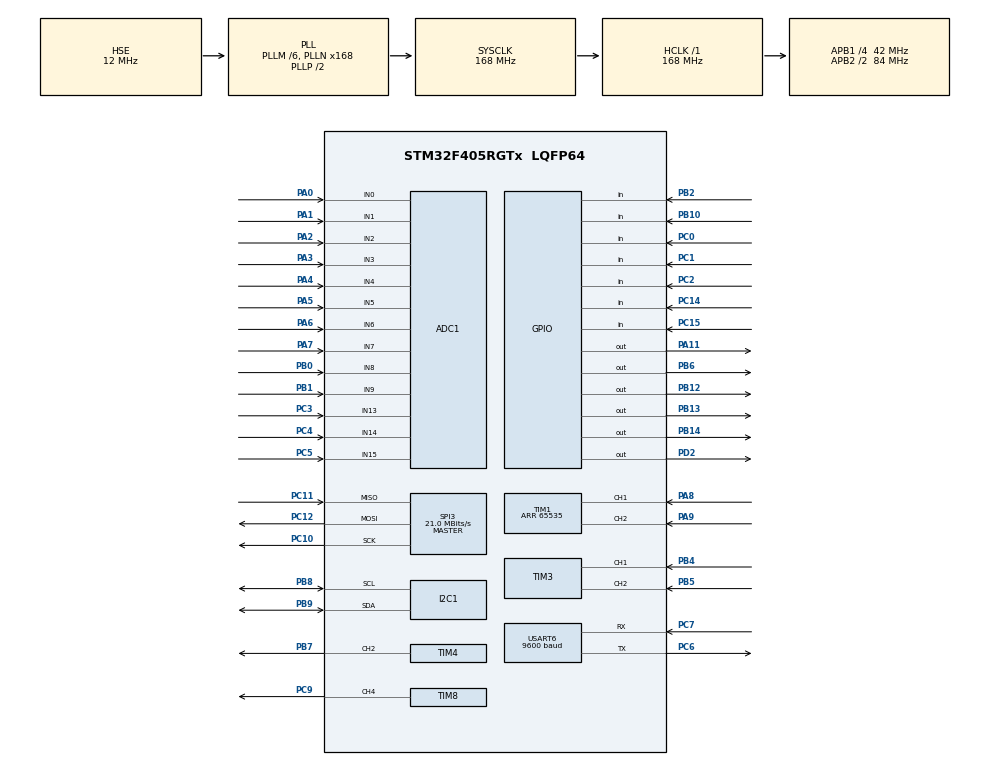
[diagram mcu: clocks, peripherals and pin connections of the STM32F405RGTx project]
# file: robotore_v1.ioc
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ADC1.Channel-0\#ChannelRegularConversion=ADC_CHANNEL_9
ADC1.Channel-1\#ChannelRegularConversion=ADC_CHANNEL_8
ADC1.Channel-10\#ChannelRegularConversion=ADC_CHANNEL_1
ADC1.Channel-11\#ChannelRegularConversion=ADC_CHANNEL_0
ADC1.Channel-12\#ChannelRegularConversion=ADC_CHANNEL_13
ADC1.Channel-2\#ChannelRegularConversion=ADC_CHANNEL_15
ADC1.Channel-3\#ChannelRegularConversion=ADC_CHANNEL_14
ADC1.Channel-4\#ChannelRegularConversion=ADC_CHANNEL_7
ADC1.Channel-5\#ChannelRegularConversion=ADC_CHANNEL_6
ADC1.Channel-6\#ChannelRegularConversion=ADC_CHANNEL_5
ADC1.Channel-7\#ChannelRegularConversion=ADC_CHANNEL_4
ADC1.Channel-8\#ChannelRegularConversion=ADC_CHANNEL_3
ADC1.Channel-9\#ChannelRegularConversion=ADC_CHANNEL_2
ADC1.ContinuousConvMode=ENABLE
ADC1.DMAContinuousRequests=ENABLE
ADC1.InjNumberOfConversion=0
ADC1.NbrOfConversion=13
ADC1.NbrOfConversionFlag=1
ADC1.Rank-0\#ChannelRegularConversion=1
ADC1.Rank-1\#ChannelRegularConversion=2
ADC1.Rank-10\#ChannelRegularConversion=11
ADC1.Rank-11\#ChannelRegularConversion=12
ADC1.Rank-12\#ChannelRegularConversion=13
ADC1.Rank-2\#ChannelRegularConversion=3
ADC1.Rank-3\#ChannelRegularConversion=4
ADC1.Rank-4\#ChannelRegularConversion=5
ADC1.Rank-5\#ChannelRegularConversion=6
ADC1.Rank-6\#ChannelRegularConversion=7
ADC1.Rank-7\#ChannelRegularConversion=8
ADC1.Rank-8\#ChannelRegularConversion=9
ADC1.Rank-9\#ChannelRegularConversion=10
ADC1.SamplingTime-0\#ChannelRegularConversion=ADC_SAMPLETIME_480CYCLES
ADC1.SamplingTime-1\#ChannelRegularConversion=ADC_SAMPLETIME_480CYCLES
ADC1.SamplingTime-10\#ChannelRegularConversion=ADC_SAMPLETIME_480CYCLES
ADC1.SamplingTime-11\#ChannelRegularConversion=ADC_SAMPLETIME_480CYCLES
ADC1.SamplingTime-12\#ChannelRegularConversion=ADC_SAMPLETIME_480CYCLES
ADC1.SamplingTime-2\#ChannelRegularConversion=ADC_SAMPLETIME_480CYCLES
ADC1.SamplingTime-3\#ChannelRegularConversion=ADC_SAMPLETIME_480CYCLES
ADC1.SamplingTime-4\#ChannelRegularConversion=ADC_SAMPLETIME_480CYCLES
ADC1.SamplingTime-5\#ChannelRegularConversion=ADC_SAMPLETIME_480CYCLES
ADC1.SamplingTime-6\#ChannelRegularConversion=ADC_SAMPLETIME_480CYCLES
ADC1.SamplingTime-7\#ChannelRegularConversion=ADC_SAMPLETIME_480CYCLES
ADC1.SamplingTime-8\#ChannelRegularConversion=ADC_SAMPLETIME_480CYCLES
ADC1.SamplingTime-9\#ChannelRegularConversion=ADC_SAMPLETIME_480CYCLES
ADC1.ScanConvMode=ENABLE
ADC1.master=1
Dma.ADC1.0.Direction=DMA_PERIPH_TO_MEMORY
Dma.ADC1.0.FIFOMode=DMA_FIFOMODE_DISABLE
Dma.ADC1.0.Instance=DMA2_Stream0
Dma.ADC1.0.MemDataAlignment=DMA_MDATAALIGN_HALFWORD
Dma.ADC1.0.MemInc=DMA_MINC_ENABLE
Dma.ADC1.0.Mode=DMA_CIRCULAR
Dma.ADC1.0.PeriphDataAlignment=DMA_PDATAALIGN_HALFWORD
Dma.ADC1.0.PeriphInc=DMA_PINC_DISABLE
Dma.ADC1.0.Priority=DMA_PRIORITY_LOW
Dma.Request0=ADC1
Mcu.Family=STM32F4
Mcu.Name=STM32F405RGTx
Mcu.Package=LQFP64
NVIC.DMA2_Stream0_IRQn=true\:0\:0\:false\:false\:true\:false\:true
NVIC.PriorityGroup=NVIC_PRIORITYGROUP_4
NVIC.TIM1_UP_TIM10_IRQn=true\:0\:0\:false\:false\:true\:true\:true
NVIC.TIM6_DAC_IRQn=true\:0\:0\:false\:false\:true\:true\:true
NVIC.TIM7_IRQn=true\:0\:0\:false\:false\:true\:true\:true
NVIC.USART6_IRQn=true\:0\:0\:false\:false\:true\:true\:true
PA0-WKUP.Signal=ADCx_IN0
PA1.Signal=ADCx_IN1
PA11.Signal=GPIO_Output
PA13.Mode=Trace_Asynchronous_SW
PA13.Signal=SYS_JTMS-SWDIO
PA14.Mode=Trace_Asynchronous_SW
PA14.Signal=SYS_JTCK-SWCLK
PA2.Signal=ADCx_IN2
PA3.Signal=ADCx_IN3
PA4.Signal=ADCx_IN4
PA5.Signal=ADCx_IN5
PA6.Signal=ADCx_IN6
PA7.Signal=ADCx_IN7
PA8.Signal=S_TIM1_CH1
PA9.Signal=S_TIM1_CH2
PB0.Signal=ADCx_IN8
PB1.Signal=ADCx_IN9
PB10.Signal=GPIO_Input
PB12.Signal=GPIO_Output
PB13.Signal=GPIO_Output
PB14.Signal=GPIO_Output
PB2.Signal=GPIO_Input
PB3.Mode=Trace_Asynchronous_SW
PB3.Signal=SYS_JTDO-SWO
PB4.Signal=S_TIM3_CH1
PB5.Signal=S_TIM3_CH2
PB6.Signal=GPIO_Output
PB7.Signal=S_TIM4_CH2
PB8.Mode=I2C
PB8.Signal=I2C1_SCL
PB9.Mode=I2C
PB9.Signal=I2C1_SDA
PC0.GPIO_PuPd=GPIO_PULLUP
PC0.Signal=GPIO_Input
PC1.GPIO_PuPd=GPIO_PULLUP
PC1.Signal=GPIO_Input
PC10.Mode=Full_Duplex_Master
PC10.Signal=SPI3_SCK
PC11.Mode=Full_Duplex_Master
PC11.Signal=SPI3_MISO
PC12.Mode=Full_Duplex_Master
PC12.Signal=SPI3_MOSI
PC14-OSC32_IN.GPIO_PuPd=GPIO_NOPULL
PC14-OSC32_IN.Signal=GPIO_Input
PC15-OSC32_OUT.GPIO_PuPd=GPIO_PULLUP
PC15-OSC32_OUT.Signal=GPIO_Input
PC2.GPIO_PuPd=GPIO_PULLUP
PC2.Signal=GPIO_Input
PC3.Signal=ADCx_IN13
PC4.Signal=ADCx_IN14
PC5.Signal=ADCx_IN15
PC6.Mode=Asynchronous
PC6.Signal=USART6_TX
PC7.Mode=Asynchronous
PC7.Signal=USART6_RX
PC9.Signal=S_TIM8_CH4
PD2.Signal=GPIO_Output
PH0-OSC_IN.Mode=HSE-External-Clock-Source
PH0-OSC_IN.Signal=RCC_OSC_IN
PH1-OSC_OUT.Mode=HSE-External-Clock-Source
PH1-OSC_OUT.Signal=RCC_OSC_OUT
ProjectManager.HeapSize=0x200
ProjectManager.StackSize=0x400
ProjectManager.TargetToolchain=STM32CubeIDE
RCC.48MHZClocksFreq_Value=84000000
RCC.AHBFreq_Value=168000000
RCC.APB1CLKDivider=RCC_HCLK_DIV4
RCC.APB1Freq_Value=42000000
RCC.APB1TimFreq_Value=84000000
RCC.APB2CLKDivider=RCC_HCLK_DIV2
RCC.APB2Freq_Value=84000000
RCC.APB2TimFreq_Value=168000000
RCC.CortexFreq_Value=168000000
RCC.HCLKFreq_Value=168000000
RCC.HSE_VALUE=12000000
RCC.HSI_VALUE=16000000
RCC.LSE_VALUE=32768
RCC.PLLM=6
RCC.PLLN=168
RCC.PLLSourceVirtual=RCC_PLLSOURCE_HSE
RCC.SYSCLKFreq_VALUE=168000000
RCC.SYSCLKSource=RCC_SYSCLKSOURCE_PLLCLK
RCC.VCOOutputFreq_Value=336000000
SH.ADCx_IN0.0=ADC1_IN0,IN0
SH.ADCx_IN1.0=ADC1_IN1,IN1
SH.ADCx_IN13.0=ADC1_IN13,IN13
SH.ADCx_IN14.0=ADC1_IN14,IN14
SH.ADCx_IN15.0=ADC1_IN15,IN15
SH.ADCx_IN2.0=ADC1_IN2,IN2
SH.ADCx_IN3.0=ADC1_IN3,IN3
SH.ADCx_IN4.0=ADC1_IN4,IN4
SH.ADCx_IN5.0=ADC1_IN5,IN5
SH.ADCx_IN6.0=ADC1_IN6,IN6
SH.ADCx_IN7.0=ADC1_IN7,IN7
SH.ADCx_IN8.0=ADC1_IN8,IN8
SH.ADCx_IN9.0=ADC1_IN9,IN9
SH.S_TIM1_CH1.0=TIM1_CH1,Encoder_Interface
SH.S_TIM1_CH2.0=TIM1_CH2,Encoder_Interface
SH.S_TIM3_CH1.0=TIM3_CH1,Encoder_Interface
SH.S_TIM3_CH2.0=TIM3_CH2,Encoder_Interface
SH.S_TIM4_CH2.0=TIM4_CH2,PWM Generation2 CH2
SH.S_TIM8_CH4.0=TIM8_CH4,PWM Generation4 CH4
SPI3.BaudRatePrescaler=SPI_BAUDRATEPRESCALER_2
SPI3.CalculateBaudRate=21.0 MBits/s
SPI3.Direction=SPI_DIRECTION_2LINES
SPI3.Mode=SPI_MODE_MASTER
SPI3.VirtualType=VM_MASTER
TIM1.CounterMode=TIM_COUNTERMODE_DOWN
TIM1.EncoderMode=TIM_ENCODERMODE_TI12
TIM1.Period=65535
TIM3.EncoderMode=TIM_ENCODERMODE_TI12
TIM4.Channel-PWM\ Generation2\ CH2=TIM_CHANNEL_2
TIM4.Period=1800
TIM4.Prescaler=0
TIM6.Period=999
TIM6.Prescaler=83
TIM8.Channel-PWM\ Generation4\ CH4=TIM_CHANNEL_4
TIM8.Period=1800
TIM8.Prescaler=1
USART6.BaudRate=9600
USART6.VirtualMode=VM_ASYNC
VP_TIM6_VS_ClockSourceINT.Mode=Enable_Timer
VP_TIM7_VS_ClockSourceINT.Mode=Enable_Timer
board=custom

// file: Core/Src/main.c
/* USER CODE BEGIN Header */
/**
  ******************************************************************************
  * @file           : main.c
  * @brief          : Main program body
  ******************************************************************************
  * @attention
  *
  * <h2><center>&copy; Copyright (c) 2021 STMicroelectronics.
  * All rights reserved.</center></h2>
  *
  * This software component is licensed by ST under BSD 3-Clause license,
  * the "License"; You may not use this file except in compliance with the
  * License. You may obtain a copy of the License at:
  *                        opensource.org/licenses/BSD-3-Clause
  *
  ******************************************************************************
  */
/* USER CODE END Header */
#include "main.h"

/* USER CODE BEGIN Includes */
#include "stdio.h"
#include "stdbool.h"
#include "string.h"
#include "math.h"
#include <ICM_20648.h>
#include <AQM0802.h>

#include <flash.h>
#include <initial.h>
#include <tuning.h>
#include <PID_con.h>
#include <ADC_sens.h>
#include <IMU_cale.h>
#include "Flash_F405.h"
/* USER CODE END Includes */

/* USER CODE BEGIN PM */
#define SENSOR_NUMBER 13
#define T 0.001
#define PI 3.141592
#define diameter 22 //Tire diameter
#define resolution 512 //
#define Gear 2.14//Gear ratio
#define Accm 6
#define Decm 4
#define BACKUP_FLASH_SECTOR_NUM     FLASH_SECTOR_1
#define BACKUP_FLASH_SECTOR_SIZE    1024*16

#define BACKUP_FLASH_SECTOR_NUM2     FLASH_SECTOR_6
#define BACKUP_FLASH_SECTOR_SIZE2    1024*16

/* USER CODE END PM */

ADC_HandleTypeDef hadc1;
DMA_HandleTypeDef hdma_adc1;

I2C_HandleTypeDef hi2c1;

SPI_HandleTypeDef hspi3;

TIM_HandleTypeDef htim1;
TIM_HandleTypeDef htim3;
TIM_HandleTypeDef htim4;
TIM_HandleTypeDef htim6;
TIM_HandleTypeDef htim7;
TIM_HandleTypeDef htim8;

UART_HandleTypeDef huart6;

/* USER CODE BEGIN PV */
uint16_t analog[SENSOR_NUMBER];
uint16_t di[SENSOR_NUMBER];                  //Maximum and minimum difference
uint16_t sens[SENSOR_NUMBER];
uint16_t sensRatio[SENSOR_NUMBER];
uint16_t b[SENSOR_NUMBER];
 uint16_t Speed = 1300;
uint16_t Speedbuff;
 int count= 1200;
float sensL, sensR;
double Kp= 0;//1.2
double  Ki= 0.000;//Ki= 0.001
double  Kd= 0.0000;//Kd= 0.0005
uint8_t Pgain;
uint8_t Igain;
uint8_t Dgain;
uint8_t con=0;
uint8_t secon=0;
uint32_t log_count=0;
uint8_t floag=0;
uint8_t stop_flag=0;
uint16_t stoping=30;
uint8_t second=0;
uint8_t a=0;
uint8_t cros=0;
int L , R;
float speedval_I = 0;
float ang_average =0;
extern float ang;
float load_log=0;
float ahs;
uint32_t callog_adress;
uint32_t loadlog_adress;
uint32_t plan_velo_adress;
uint32_t cros_adress;

uint32_t leftm=0;
uint8_t left_floag=0;

double secondsp[6100]={0};
float loada[6100]={0};
int ri[12]={0};
  uint16_t work_ram[BACKUP_FLASH_SECTOR_SIZE] __attribute__ ((aligned(4)));
 char _backup_flash_start;

// float Driving_log[BACKUP_FLASH_SECTOR_SIZE2] __attribute__ ((aligned(4)));
// char _backup_flash_start2;
/* USER CODE END PV */

void SystemClock_Config(void);
static void MX_GPIO_Init(void);
static void MX_DMA_Init(void);
static void MX_ADC1_Init(void);
static void MX_I2C1_Init(void);
static void MX_SPI3_Init(void);
static void MX_TIM1_Init(void);
static void MX_TIM3_Init(void);
static void MX_TIM4_Init(void);
static void MX_TIM8_Init(void);
static void MX_USART6_UART_Init(void);
static void MX_TIM6_Init(void);
static void MX_TIM7_Init(void);

/* USER CODE BEGIN 0 */

float speedget();

void Motor(int16_t MotorL,int16_t MotorR);
int angle_Control();
void SpeedCtrl();
void off_angle();
#ifdef __GNUC__
	#define PUTCHAR_PROTOTYPE int __io_putchar(int ch)
#else
	#define PUTCHAR_PROTOTYPE int fputc(int ch, FILE *f)
#endif /*__GNUC__*/
PUTCHAR_PROTOTYPE {
	HAL_UART_Transmit(&huart6, (uint8_t*)&ch, 1, 0xFFFF);
	return ch;
}
void HAL_ADC_ConvCpltCallback(ADC_HandleTypeDef* AdcHandle) {
}

void init()
{
	uint8_t l=0;
	if(HAL_ADC_Start_DMA(&hadc1, (uint32_t *) analog, SENSOR_NUMBER) != HAL_OK){
	  Error_Handler();
	}
	if (HAL_TIM_PWM_Start(&htim8, TIM_CHANNEL_4) != HAL_OK){
	      Error_Handler();
	}
	if (HAL_TIM_PWM_Start(&htim4, TIM_CHANNEL_2) != HAL_OK){
				      Error_Handler();
				}
	lcd_init();
	lcd_clear();lcd_locate(0,0);
	lcd_printf("OK");

	HAL_TIM_Encoder_Start(&htim1,TIM_CHANNEL_ALL);
	HAL_TIM_Encoder_Start(&htim3,TIM_CHANNEL_ALL);
	HAL_TIM_PWM_Start(&htim4,TIM_CHANNEL_ALL);
	HAL_GPIO_WritePin(GPIOA, GPIO_PIN_11, GPIO_PIN_SET);
	HAL_TIM_PWM_Start(&htim8,TIM_CHANNEL_ALL);

	TIM1 -> CNT = 32767;
	TIM3 -> CNT = 32767;

	Flash_load();

	ang_average=(float)work_ram[31]/1000;
	printf("%lf\r\n",ang_average);
	if(ang_average>=50) ang_average=-ang_average/10;
	printf("%lf\r\n",ang_average);

	Kp = work_ram[0];
	Ki = work_ram[1];
	Kd = work_ram[2];
	Kp = Kp/100;
	Ki = Ki/1000000;
	Kd = Kd/100;
	printf("MAX: %d %d %d %d %d %d %d %d %d %d %d %d %d\r\n", work_ram[3],work_ram[4],work_ram[5],work_ram[6],work_ram[7],work_ram[8],work_ram[9],work_ram[10],work_ram[11],work_ram[12],work_ram[13],work_ram[14],work_ram[15]);
	while(l < SENSOR_NUMBER){
			di[l] = work_ram[l+3];
			b[l] = work_ram[l+17];
			printf("%d,", b[l]);
			l++;
	}
	printf("\r\n");
}
int log_Speed(double h){
	int spee=1300;

	//h = Driving_log[6100+c]/(Driving_log[c]*0.01);
	if(h<0)h=-h;

	if(h < 100) spee = work_ram[37];
	else if(h < 300)  spee = work_ram[36];
	else if(h < 500)  spee = work_ram[35];
	else if(h < 800)  spee = work_ram[34];
	else if(h < 1000) spee = work_ram[33];
	else  spee = work_ram[32];
//	if(h < 100) spee = 1200;
//		else if(h < 300)  spee = 1300;
//		else if(h < 500)  spee = 1500;
//		else if(h < 800)  spee = 1600;
//		else if(h < 1000) spee = 2000;
//		else if(h > 1500) spee = 2500;
	return spee;

}
float mon_speed;
void log_Cal(){
	uint i=0;
	double Ca,Lo;
	callog_adress = start_adress_sector7;
	loadlog_adress = start_adress_sector9;
	while(1){
		Lo=*(float*)loadlog_adress;
		Ca=*(float*)callog_adress;

		if(isnan(Ca) != 0)break;

		secondsp[i]= log_Speed(Lo/(Ca*(Lo/(double)Speed)));

		loada[i] = loada[i-1]+Lo;
//		if((secondsp[i] - secondsp[i-1])/(Lo/(double)Speed)>Accm)secondsp[i]=Accm*Lo+secondsp[i-1];
//		if(-(secondsp[i-1] - secondsp[i])/(Lo/(double)Speed)<Decm)secondsp[i]=Decm*Lo+secondsp[i];
//		printf("%lf\n\r",secondsp[i]);

		callog_adress+= 0x04;
		loadlog_adress+= 0x04;
		LED(2);
		i++;
	}
	callog_adress = start_adress_sector7;
	loadlog_adress = start_adress_sector9;
	for(int s=0;s<i;s++){
		Lo=*(float*)loadlog_adress;
		Ca=*(float*)callog_adress;
		if((secondsp[s] - secondsp[s-1])/(Lo/(double)Speed)>Accm)secondsp[s]=Accm*Lo+secondsp[s-1];

		callog_adress+= 0x04;
		loadlog_adress+= 0x04;
	}
	callog_adress = start_adress_sector7;
	loadlog_adress = start_adress_sector9;
	for(int s=i;s>0;s--){
		if((secondsp[s] - secondsp[s+1])/(Lo/(double)Speed)>Decm)secondsp[s]=Decm*Lo+secondsp[s+1];
		callog_adress+= 0x04;
		loadlog_adress+= 0x04;
	}
	for(int s=0;s<i;s++){
		mon_speed = (float)secondsp[s];
		//printf("%lf\n\r",secondsp[s]);
		//HAL_Delay(10);
	}
}

void sidemaker(){
	//static int h= 0;
	if(HAL_GPIO_ReadPin(GPIOB,GPIO_PIN_2) ==0 && count > 100 && stoping > 30){
		floag=1;
		stoping =0;
		stop_flag++;

	}
	if(HAL_GPIO_ReadPin(GPIOB,GPIO_PIN_10) ==0)left_floag=1;

	if(Speed < Speedbuff && stop_flag ==0) Speed= Speed + 10;;

}
void driv_Log(float u){

	  FLASH_Write_Word_F(callog_adress,u);
	  FLASH_Write_Word_F(loadlog_adress,load_log);
	  callog_adress+= 0x04;
	  loadlog_adress+= 0x04;
	 // u=*(float*)log_adress ;
}
void driv_log(){
	static uint8_t i=0,z=0;
	static uint crosbuff=0;
	if(con==1 && floag==1 && second==0){
		 	driv_Log(ahs/a);
			log_count++;
			con=0;
			a=0;
			ahs =0;
			LED(3);
		}
		if(con==1 && floag==1 && second==1){
			if(secondsp[log_count]<1300)secondsp[log_count]=1300;
			Speed =secondsp[log_count];
			con=0;
			log_count++;
			i++;
			LED(1);
		}
		if(cros==1 &&second==0 && crosbuff!= log_count && crosbuff+3 <= log_count){
			FLASH_Write_Word_S(cros_adress,log_count);
			cros_adress+= 0x04;
			crosbuff=log_count;
			cros=0;

		}
		if(cros==1 &&second==1 && crosbuff != log_count && crosbuff+3 <= log_count){
			ri[z] = log_count;
			log_count =  *(uint32_t*)cros_adress;

			crosbuff=log_count;
			cros_adress += 0x04;
			cros=0;
			z++;

		}
}

 int angle_Control(){
	float kp=150,ki=30,kd=0.3;
	float e,ed;
	static float ei=0,e0;
	int angMotorL;

	e =calc_angle();
	ei +=e*T;
	ed = e0-e/T;
	e0=e;
	angMotorL=(e*kp+ei*ki-ed*kd);
	return angMotorL;
}
 int mode(){
 	int8_t i=1;
 	 int g;
 	 float lo=0;
 	 int z=0;
 	while(1){
 		while(HAL_GPIO_ReadPin(GPIOC,GPIO_PIN_1)){
 			if(HAL_GPIO_ReadPin(GPIOC,GPIO_PIN_15)==0) i++;
 			HAL_Delay(100);
 			if(HAL_GPIO_ReadPin(GPIOC,GPIO_PIN_2)==0) i--;
 			LED(i);
 			if(i==8) i=1;
 			if(i==-1) i=7;
 			HAL_Delay(100);

 		}
 		HAL_Delay(1000);
 		switch(i){
 			case 1:
 				LED(1);
 				lcd_clear();
 				lcd_locate(0,0);
 				lcd_printf("IMU");
 				IMU_init();
 				off_angle();
 				break;
 			case 2:
 				LED(2);
 				lcd_clear();
 				lcd_locate(0,0);
 				lcd_printf("ADCinit");
 				ADCinit();
 				break;
 			case 3:
 				LED(3);
 				Speedbuff = Speed;
 				lcd_clear();
 				lcd_locate(0,0);
 				lcd_printf("Tuning");
 				tuning();
 				Speed = Speedbuff;
 				break;
 			case 4:
 				LED(4);
 				lcd_clear();

 				Speedbuff = Speed;
 				Speed =0;
 				stop_flag=0;
 				stoping=30;
 				second=0;
 				Flash_clear2();
 				callog_adress = start_adress_sector7;
 				loadlog_adress = start_adress_sector9;
 				cros_adress = start_adress_sector10;
 				HAL_TIM_Base_Start_IT(&htim6);
 				while(1){
 					if(stop_flag>=2){
 						stop();
 						con=0;
 						floag=0;
 						stoping =0;
 						stop_flag=0;
 						break;
 					}
 					if(left_floag==1 && (ahs>-1 && ahs<1)){
 						while(1){
 							if(HAL_GPIO_ReadPin(GPIOB,GPIO_PIN_10) ==1){
 								left_floag=0;
 								leftm++;
 								break;
 							}
 						}
 					}

 				}
 				Speed = Speedbuff;
 				printf("%d\r\n",log_count);
 				log_count=0;
 				break;
 			case 5:
 				LED(5);
 				lcd_clear();
 				Flash_load();
 				log_Cal();
 				cros_adress = start_adress_sector10;
 				while(1){
 					log_count = *(int*) cros_adress;
 					if(isnan(*(float*) cros_adress) != 0)break;

 				  printf("%d\n\r", log_count);
 				  cros_adress+=0x04;
 				}
 				for( z=0;z<=12;z++){
 					printf("%d\n\r",ri[z]);
 				}
 //				printf("-------\n\r");
 //				for( z=0;z<=3000;z++){
 //					printf("%d,%lf\n\r",z,secondsp[i]);
 //					if(secondsp[z]<=0)break;
 //				}

 				break ;
 			case 6:
 				Flash_load();
 				HAL_Delay(500);
 				second=1;
 				log_count=0;
 				Speedbuff = Speed;
 				Speed =0;
 				stop_flag=0;
 				stoping=20;

 				callog_adress = start_adress_sector7;
 				loadlog_adress = start_adress_sector9;
 				cros_adress = start_adress_sector10;

 				HAL_TIM_Base_Start_IT(&htim6);
 				while(1){
 					if(stop_flag>=2){
 						stop();
 						con=0;
 						floag=0;
 						stoping =0;
 						stop_flag=0;
 						break;
 					}
 					if(left_floag==1  && (ahs>-1 && ahs<1)){
 						while(1){
 							if(HAL_GPIO_ReadPin(GPIOB,GPIO_PIN_10) ==1){
 								left_floag=0;
 								leftm++;
 								break;
 							}
 						}
 					}
 				}
 				break;
 			case 7:
 				acc_Speed();
 				break;

 		}
 	}
 }
void HAL_TIM_PeriodElapsedCallback(TIM_HandleTypeDef *htim){
	count++;
	stoping++;
	sensGet();
	SpeedCtrl();
	sidemaker();
	ahs += calc_angle();
	a++;
	driv_log();
	}

/* USER CODE END 0 */

int main(void)
{

  /* MCU Configuration--------------------------------------------------------*/

  /* Reset of all peripherals, Initializes the Flash interface and the Systick. */

	HAL_Init();

  /* Configure the system clock */
  SystemClock_Config();

  /* Initialize all configured peripherals */
  MX_GPIO_Init();
  MX_DMA_Init();
  MX_ADC1_Init();
  MX_I2C1_Init();
  MX_SPI3_Init();
  MX_TIM1_Init();
  MX_TIM3_Init();
  MX_TIM4_Init();
  MX_TIM8_Init();
  MX_USART6_UART_Init();
  MX_TIM6_Init();
  MX_TIM7_Init();
  /* USER CODE BEGIN 2 */

  init();

//  tuning();
  HAL_Delay(200);
//
  IMU_init();

// off_angle();
//  ADCinit();

 mode();

  /* USER CODE END 2 */

  /* Infinite loop */
  while(1){
  }

    /* USER CODE BEGIN 3 */
//  }

  /* USER CODE END 3 */
}

void SystemClock_Config(void)
{
  RCC_OscInitTypeDef RCC_OscInitStruct = {0};
  RCC_ClkInitTypeDef RCC_ClkInitStruct = {0};

  /** Configure the main internal regulator output voltage
  */
  __HAL_RCC_PWR_CLK_ENABLE();
  __HAL_PWR_VOLTAGESCALING_CONFIG(PWR_REGULATOR_VOLTAGE_SCALE1);
  /** Initializes the RCC Oscillators according to the specified parameters
  * in the RCC_OscInitTypeDef structure.
  */
  RCC_OscInitStruct.OscillatorType = RCC_OSCILLATORTYPE_HSE;
  RCC_OscInitStruct.HSEState = RCC_HSE_BYPASS;
  RCC_OscInitStruct.PLL.PLLState = RCC_PLL_ON;
  RCC_OscInitStruct.PLL.PLLSource = RCC_PLLSOURCE_HSE;
  RCC_OscInitStruct.PLL.PLLM = 6;
  RCC_OscInitStruct.PLL.PLLN = 168;
  RCC_OscInitStruct.PLL.PLLP = RCC_PLLP_DIV2;
  RCC_OscInitStruct.PLL.PLLQ = 4;
  if (HAL_RCC_OscConfig(&RCC_OscInitStruct) != HAL_OK)
  {
    Error_Handler();
  }
  /** Initializes the CPU, AHB and APB buses clocks
  */
  RCC_ClkInitStruct.ClockType = RCC_CLOCKTYPE_HCLK|RCC_CLOCKTYPE_SYSCLK
                              |RCC_CLOCKTYPE_PCLK1|RCC_CLOCKTYPE_PCLK2;
  RCC_ClkInitStruct.SYSCLKSource = RCC_SYSCLKSOURCE_PLLCLK;
  RCC_ClkInitStruct.AHBCLKDivider = RCC_SYSCLK_DIV1;
  RCC_ClkInitStruct.APB1CLKDivider = RCC_HCLK_DIV4;
  RCC_ClkInitStruct.APB2CLKDivider = RCC_HCLK_DIV2;

  if (HAL_RCC_ClockConfig(&RCC_ClkInitStruct, FLASH_LATENCY_5) != HAL_OK)
  {
    Error_Handler();
  }
}

static void MX_ADC1_Init(void)
{

  ADC_ChannelConfTypeDef sConfig = {0};

  /** Configure the global features of the ADC (Clock, Resolution, Data Alignment and number of conversion)
  */
  hadc1.Instance = ADC1;
  hadc1.Init.ClockPrescaler = ADC_CLOCK_SYNC_PCLK_DIV4;
  hadc1.Init.Resolution = ADC_RESOLUTION_12B;
  hadc1.Init.ScanConvMode = ENABLE;
  hadc1.Init.ContinuousConvMode = ENABLE;
  hadc1.Init.DiscontinuousConvMode = DISABLE;
  hadc1.Init.ExternalTrigConvEdge = ADC_EXTERNALTRIGCONVEDGE_NONE;
  hadc1.Init.ExternalTrigConv = ADC_SOFTWARE_START;
  hadc1.Init.DataAlign = ADC_DATAALIGN_RIGHT;
  hadc1.Init.NbrOfConversion = 13;
  hadc1.Init.DMAContinuousRequests = ENABLE;
  hadc1.Init.EOCSelection = ADC_EOC_SINGLE_CONV;
  if (HAL_ADC_Init(&hadc1) != HAL_OK)
  {
    Error_Handler();
  }
  /** Configure for the selected ADC regular channel its corresponding rank in the sequencer and its sample time.
  */
  sConfig.Channel = ADC_CHANNEL_9;
  sConfig.Rank = 1;
  sConfig.SamplingTime = ADC_SAMPLETIME_480CYCLES;
  if (HAL_ADC_ConfigChannel(&hadc1, &sConfig) != HAL_OK)
  {
    Error_Handler();
  }
  /** Configure for the selected ADC regular channel its corresponding rank in the sequencer and its sample time.
  */
  sConfig.Channel = ADC_CHANNEL_8;
  sConfig.Rank = 2;
  if (HAL_ADC_ConfigChannel(&hadc1, &sConfig) != HAL_OK)
  {
    Error_Handler();
  }
  /** Configure for the selected ADC regular channel its corresponding rank in the sequencer and its sample time.
  */
  sConfig.Channel = ADC_CHANNEL_15;
  sConfig.Rank = 3;
  if (HAL_ADC_ConfigChannel(&hadc1, &sConfig) != HAL_OK)
  {
    Error_Handler();
  }
  /** Configure for the selected ADC regular channel its corresponding rank in the sequencer and its sample time.
  */
  sConfig.Channel = ADC_CHANNEL_14;
  sConfig.Rank = 4;
  if (HAL_ADC_ConfigChannel(&hadc1, &sConfig) != HAL_OK)
  {
    Error_Handler();
  }
  /** Configure for the selected ADC regular channel its corresponding rank in the sequencer and its sample time.
  */
  sConfig.Channel = ADC_CHANNEL_7;
  sConfig.Rank = 5;
  if (HAL_ADC_ConfigChannel(&hadc1, &sConfig) != HAL_OK)
  {
    Error_Handler();
  }
  /** Configure for the selected ADC regular channel its corresponding rank in the sequencer and its sample time.
  */
  sConfig.Channel = ADC_CHANNEL_6;
  sConfig.Rank = 6;
  if (HAL_ADC_ConfigChannel(&hadc1, &sConfig) != HAL_OK)
  {
    Error_Handler();
  }
  /** Configure for the selected ADC regular channel its corresponding rank in the sequencer and its sample time.
  */
  sConfig.Channel = ADC_CHANNEL_5;
  sConfig.Rank = 7;
  if (HAL_ADC_ConfigChannel(&hadc1, &sConfig) != HAL_OK)
  {
    Error_Handler();
  }
  /** Configure for the selected ADC regular channel its corresponding rank in the sequencer and its sample time.
  */
  sConfig.Channel = ADC_CHANNEL_4;
  sConfig.Rank = 8;
  if (HAL_ADC_ConfigChannel(&hadc1, &sConfig) != HAL_OK)
  {
    Error_Handler();
  }
  /** Configure for the selected ADC regular channel its corresponding rank in the sequencer and its sample time.
  */
  sConfig.Channel = ADC_CHANNEL_3;
  sConfig.Rank = 9;
  if (HAL_ADC_ConfigChannel(&hadc1, &sConfig) != HAL_OK)
  {
    Error_Handler();
  }
  /** Configure for the selected ADC regular channel its corresponding rank in the sequencer and its sample time.
  */
  sConfig.Channel = ADC_CHANNEL_2;
  sConfig.Rank = 10;
  if (HAL_ADC_ConfigChannel(&hadc1, &sConfig) != HAL_OK)
  {
    Error_Handler();
  }
  /** Configure for the selected ADC regular channel its corresponding rank in the sequencer and its sample time.
  */
  sConfig.Channel = ADC_CHANNEL_1;
  sConfig.Rank = 11;
  if (HAL_ADC_ConfigChannel(&hadc1, &sConfig) != HAL_OK)
  {
    Error_Handler();
  }
  /** Configure for the selected ADC regular channel its corresponding rank in the sequencer and its sample time.
  */
  sConfig.Channel = ADC_CHANNEL_0;
  sConfig.Rank = 12;
  if (HAL_ADC_ConfigChannel(&hadc1, &sConfig) != HAL_OK)
  {
    Error_Handler();
  }
  /** Configure for the selected ADC regular channel its corresponding rank in the sequencer and its sample time.
  */
  sConfig.Channel = ADC_CHANNEL_13;
  sConfig.Rank = 13;
  if (HAL_ADC_ConfigChannel(&hadc1, &sConfig) != HAL_OK)
  {
    Error_Handler();
  }

}

static void MX_I2C1_Init(void)
{

  hi2c1.Instance = I2C1;
  hi2c1.Init.ClockSpeed = 100000;
  hi2c1.Init.DutyCycle = I2C_DUTYCYCLE_2;
  hi2c1.Init.OwnAddress1 = 0;
  hi2c1.Init.AddressingMode = I2C_ADDRESSINGMODE_7BIT;
  hi2c1.Init.DualAddressMode = I2C_DUALADDRESS_DISABLE;
  hi2c1.Init.OwnAddress2 = 0;
  hi2c1.Init.GeneralCallMode = I2C_GENERALCALL_DISABLE;
  hi2c1.Init.NoStretchMode = I2C_NOSTRETCH_DISABLE;
  if (HAL_I2C_Init(&hi2c1) != HAL_OK)
  {
    Error_Handler();
  }

}

static void MX_SPI3_Init(void)
{

  /* SPI3 parameter configuration*/
  hspi3.Instance = SPI3;
  hspi3.Init.Mode = SPI_MODE_MASTER;
  hspi3.Init.Direction = SPI_DIRECTION_2LINES;
  hspi3.Init.DataSize = SPI_DATASIZE_8BIT;
  hspi3.Init.CLKPolarity = SPI_POLARITY_LOW;
  hspi3.Init.CLKPhase = SPI_PHASE_1EDGE;
  hspi3.Init.NSS = SPI_NSS_SOFT;
  hspi3.Init.BaudRatePrescaler = SPI_BAUDRATEPRESCALER_2;
  hspi3.Init.FirstBit = SPI_FIRSTBIT_MSB;
  hspi3.Init.TIMode = SPI_TIMODE_DISABLE;
  hspi3.Init.CRCCalculation = SPI_CRCCALCULATION_DISABLE;
  hspi3.Init.CRCPolynomial = 10;
  if (HAL_SPI_Init(&hspi3) != HAL_OK)
  {
    Error_Handler();
  }

}

static void MX_TIM1_Init(void)
{

  TIM_Encoder_InitTypeDef sConfig = {0};
  TIM_MasterConfigTypeDef sMasterConfig = {0};

  htim1.Instance = TIM1;
  htim1.Init.Prescaler = 0;
  htim1.Init.CounterMode = TIM_COUNTERMODE_DOWN;
  htim1.Init.Period = 65535;
  htim1.Init.ClockDivision = TIM_CLOCKDIVISION_DIV1;
  htim1.Init.RepetitionCounter = 0;
  htim1.Init.AutoReloadPreload = TIM_AUTORELOAD_PRELOAD_DISABLE;
  sConfig.EncoderMode = TIM_ENCODERMODE_TI12;
  sConfig.IC1Polarity = TIM_ICPOLARITY_RISING;
  sConfig.IC1Selection = TIM_ICSELECTION_DIRECTTI;
  sConfig.IC1Prescaler = TIM_ICPSC_DIV1;
  sConfig.IC1Filter = 0;
  sConfig.IC2Polarity = TIM_ICPOLARITY_RISING;
  sConfig.IC2Selection = TIM_ICSELECTION_DIRECTTI;
  sConfig.IC2Prescaler = TIM_ICPSC_DIV1;
  sConfig.IC2Filter = 0;
  if (HAL_TIM_Encoder_Init(&htim1, &sConfig) != HAL_OK)
  {
    Error_Handler();
  }
  sMasterConfig.MasterOutputTrigger = TIM_TRGO_RESET;
  sMasterConfig.MasterSlaveMode = TIM_MASTERSLAVEMODE_DISABLE;
  if (HAL_TIMEx_MasterConfigSynchronization(&htim1, &sMasterConfig) != HAL_OK)
  {
    Error_Handler();
  }

}

static void MX_TIM3_Init(void)
{

  TIM_Encoder_InitTypeDef sConfig = {0};
  TIM_MasterConfigTypeDef sMasterConfig = {0};

  htim3.Instance = TIM3;
  htim3.Init.Prescaler = 0;
  htim3.Init.CounterMode = TIM_COUNTERMODE_UP;
  htim3.Init.Period = 65535;
  htim3.Init.ClockDivision = TIM_CLOCKDIVISION_DIV1;
  htim3.Init.AutoReloadPreload = TIM_AUTORELOAD_PRELOAD_DISABLE;
  sConfig.EncoderMode = TIM_ENCODERMODE_TI12;
  sConfig.IC1Polarity = TIM_ICPOLARITY_RISING;
  sConfig.IC1Selection = TIM_ICSELECTION_DIRECTTI;
  sConfig.IC1Prescaler = TIM_ICPSC_DIV1;
  sConfig.IC1Filter = 0;
  sConfig.IC2Polarity = TIM_ICPOLARITY_RISING;
  sConfig.IC2Selection = TIM_ICSELECTION_DIRECTTI;
  sConfig.IC2Prescaler = TIM_ICPSC_DIV1;
  sConfig.IC2Filter = 0;
  if (HAL_TIM_Encoder_Init(&htim3, &sConfig) != HAL_OK)
  {
    Error_Handler();
  }
  sMasterConfig.MasterOutputTrigger = TIM_TRGO_RESET;
  sMasterConfig.MasterSlaveMode = TIM_MASTERSLAVEMODE_DISABLE;
  if (HAL_TIMEx_MasterConfigSynchronization(&htim3, &sMasterConfig) != HAL_OK)
  {
    Error_Handler();
  }

}

static void MX_TIM4_Init(void)
{

  TIM_MasterConfigTypeDef sMasterConfig = {0};
  TIM_OC_InitTypeDef sConfigOC = {0};

  htim4.Instance = TIM4;
  htim4.Init.Prescaler = 0;
  htim4.Init.CounterMode = TIM_COUNTERMODE_UP;
  htim4.Init.Period = 1800;
  htim4.Init.ClockDivision = TIM_CLOCKDIVISION_DIV1;
  htim4.Init.AutoReloadPreload = TIM_AUTORELOAD_PRELOAD_DISABLE;
  if (HAL_TIM_PWM_Init(&htim4) != HAL_OK)
  {
    Error_Handler();
  }
  sMasterConfig.MasterOutputTrigger = TIM_TRGO_RESET;
  sMasterConfig.MasterSlaveMode = TIM_MASTERSLAVEMODE_DISABLE;
  if (HAL_TIMEx_MasterConfigSynchronization(&htim4, &sMasterConfig) != HAL_OK)
  {
    Error_Handler();
  }
  sConfigOC.OCMode = TIM_OCMODE_PWM1;
  sConfigOC.Pulse = 0;
  sConfigOC.OCPolarity = TIM_OCPOLARITY_HIGH;
  sConfigOC.OCFastMode = TIM_OCFAST_DISABLE;
  if (HAL_TIM_PWM_ConfigChannel(&htim4, &sConfigOC, TIM_CHANNEL_2) != HAL_OK)
  {
    Error_Handler();
  }
  HAL_TIM_MspPostInit(&htim4);

}

static void MX_TIM6_Init(void)
{

  TIM_MasterConfigTypeDef sMasterConfig = {0};

  htim6.Instance = TIM6;
  htim6.Init.Prescaler = 83;
  htim6.Init.CounterMode = TIM_COUNTERMODE_UP;
  htim6.Init.Period = 999;
  htim6.Init.AutoReloadPreload = TIM_AUTORELOAD_PRELOAD_DISABLE;
  if (HAL_TIM_Base_Init(&htim6) != HAL_OK)
  {
    Error_Handler();
  }
  sMasterConfig.MasterOutputTrigger = TIM_TRGO_RESET;
  sMasterConfig.MasterSlaveMode = TIM_MASTERSLAVEMODE_DISABLE;
  if (HAL_TIMEx_MasterConfigSynchronization(&htim6, &sMasterConfig) != HAL_OK)
  {
    Error_Handler();
  }

}

static void MX_TIM7_Init(void)
{

  TIM_MasterConfigTypeDef sMasterConfig = {0};

  htim7.Instance = TIM7;
  htim7.Init.Prescaler = 0;
  htim7.Init.CounterMode = TIM_COUNTERMODE_UP;
  htim7.Init.Period = 65535;
  htim7.Init.AutoReloadPreload = TIM_AUTORELOAD_PRELOAD_DISABLE;
  if (HAL_TIM_Base_Init(&htim7) != HAL_OK)
  {
    Error_Handler();
  }
  sMasterConfig.MasterOutputTrigger = TIM_TRGO_RESET;
  sMasterConfig.MasterSlaveMode = TIM_MASTERSLAVEMODE_DISABLE;
  if (HAL_TIMEx_MasterConfigSynchronization(&htim7, &sMasterConfig) != HAL_OK)
  {
    Error_Handler();
  }

}

static void MX_TIM8_Init(void)
{

  TIM_MasterConfigTypeDef sMasterConfig = {0};
  TIM_OC_InitTypeDef sConfigOC = {0};
  TIM_BreakDeadTimeConfigTypeDef sBreakDeadTimeConfig = {0};

  htim8.Instance = TIM8;
  htim8.Init.Prescaler = 1;
  htim8.Init.CounterMode = TIM_COUNTERMODE_UP;
  htim8.Init.Period = 1800;
  htim8.Init.ClockDivision = TIM_CLOCKDIVISION_DIV1;
  htim8.Init.RepetitionCounter = 0;
  htim8.Init.AutoReloadPreload = TIM_AUTORELOAD_PRELOAD_DISABLE;
  if (HAL_TIM_PWM_Init(&htim8) != HAL_OK)
  {
    Error_Handler();
  }
  sMasterConfig.MasterOutputTrigger = TIM_TRGO_RESET;
  sMasterConfig.MasterSlaveMode = TIM_MASTERSLAVEMODE_DISABLE;
  if (HAL_TIMEx_MasterConfigSynchronization(&htim8, &sMasterConfig) != HAL_OK)
  {
    Error_Handler();
  }
  sConfigOC.OCMode = TIM_OCMODE_PWM1;
  sConfigOC.Pulse = 0;
  sConfigOC.OCPolarity = TIM_OCPOLARITY_HIGH;
  sConfigOC.OCFastMode = TIM_OCFAST_DISABLE;
  sConfigOC.OCIdleState = TIM_OCIDLESTATE_RESET;
  sConfigOC.OCNIdleState = TIM_OCNIDLESTATE_RESET;
  if (HAL_TIM_PWM_ConfigChannel(&htim8, &sConfigOC, TIM_CHANNEL_4) != HAL_OK)
  {
    Error_Handler();
  }
  sBreakDeadTimeConfig.OffStateRunMode = TIM_OSSR_DISABLE;
  sBreakDeadTimeConfig.OffStateIDLEMode = TIM_OSSI_DISABLE;
  sBreakDeadTimeConfig.LockLevel = TIM_LOCKLEVEL_OFF;
  sBreakDeadTimeConfig.DeadTime = 0;
  sBreakDeadTimeConfig.BreakState = TIM_BREAK_DISABLE;
  sBreakDeadTimeConfig.BreakPolarity = TIM_BREAKPOLARITY_HIGH;
  sBreakDeadTimeConfig.AutomaticOutput = TIM_AUTOMATICOUTPUT_DISABLE;
  if (HAL_TIMEx_ConfigBreakDeadTime(&htim8, &sBreakDeadTimeConfig) != HAL_OK)
  {
    Error_Handler();
  }
  HAL_TIM_MspPostInit(&htim8);

}

static void MX_USART6_UART_Init(void)
{

  huart6.Instance = USART6;
  huart6.Init.BaudRate = 9600;
  huart6.Init.WordLength = UART_WORDLENGTH_8B;
  huart6.Init.StopBits = UART_STOPBITS_1;
  huart6.Init.Parity = UART_PARITY_NONE;
  huart6.Init.Mode = UART_MODE_TX_RX;
  huart6.Init.HwFlowCtl = UART_HWCONTROL_NONE;
  huart6.Init.OverSampling = UART_OVERSAMPLING_16;
  if (HAL_UART_Init(&huart6) != HAL_OK)
  {
    Error_Handler();
  }

}

static void MX_DMA_Init(void)
{

  /* DMA controller clock enable */
  __HAL_RCC_DMA2_CLK_ENABLE();

  /* DMA interrupt init */
  /* DMA2_Stream0_IRQn interrupt configuration */
  HAL_NVIC_SetPriority(DMA2_Stream0_IRQn, 0, 0);
  HAL_NVIC_EnableIRQ(DMA2_Stream0_IRQn);

}

static void MX_GPIO_Init(void)
{
  GPIO_InitTypeDef GPIO_InitStruct = {0};

  /* GPIO Ports Clock Enable */
  __HAL_RCC_GPIOC_CLK_ENABLE();
  __HAL_RCC_GPIOH_CLK_ENABLE();
  __HAL_RCC_GPIOA_CLK_ENABLE();
  __HAL_RCC_GPIOB_CLK_ENABLE();
  __HAL_RCC_GPIOD_CLK_ENABLE();

  /*Configure GPIO pin Output Level */
  HAL_GPIO_WritePin(GPIOB, GPIO_PIN_12|GPIO_PIN_13|GPIO_PIN_14|GPIO_PIN_6, GPIO_PIN_RESET);

  /*Configure GPIO pin Output Level */
  HAL_GPIO_WritePin(GPIOA, GPIO_PIN_11, GPIO_PIN_RESET);

  /*Configure GPIO pin Output Level */
  HAL_GPIO_WritePin(GPIOD, GPIO_PIN_2, GPIO_PIN_RESET);

  /*Configure GPIO pin : PC14 */
  GPIO_InitStruct.Pin = GPIO_PIN_14;
  GPIO_InitStruct.Mode = GPIO_MODE_INPUT;
  GPIO_InitStruct.Pull = GPIO_NOPULL;
  HAL_GPIO_Init(GPIOC, &GPIO_InitStruct);

  /*Configure GPIO pins : PC15 PC0 PC1 PC2 */
  GPIO_InitStruct.Pin = GPIO_PIN_15|GPIO_PIN_0|GPIO_PIN_1|GPIO_PIN_2;
  GPIO_InitStruct.Mode = GPIO_MODE_INPUT;
  GPIO_InitStruct.Pull = GPIO_PULLUP;
  HAL_GPIO_Init(GPIOC, &GPIO_InitStruct);

  /*Configure GPIO pins : PB2 PB10 */
  GPIO_InitStruct.Pin = GPIO_PIN_2|GPIO_PIN_10;
  GPIO_InitStruct.Mode = GPIO_MODE_INPUT;
  GPIO_InitStruct.Pull = GPIO_NOPULL;
  HAL_GPIO_Init(GPIOB, &GPIO_InitStruct);

  /*Configure GPIO pins : PB12 PB13 PB14 PB6 */
  GPIO_InitStruct.Pin = GPIO_PIN_12|GPIO_PIN_13|GPIO_PIN_14|GPIO_PIN_6;
  GPIO_InitStruct.Mode = GPIO_MODE_OUTPUT_PP;
  GPIO_InitStruct.Pull = GPIO_NOPULL;
  GPIO_InitStruct.Speed = GPIO_SPEED_FREQ_LOW;
  HAL_GPIO_Init(GPIOB, &GPIO_InitStruct);

  /*Configure GPIO pin : PA11 */
  GPIO_InitStruct.Pin = GPIO_PIN_11;
  GPIO_InitStruct.Mode = GPIO_MODE_OUTPUT_PP;
  GPIO_InitStruct.Pull = GPIO_NOPULL;
  GPIO_InitStruct.Speed = GPIO_SPEED_FREQ_LOW;
  HAL_GPIO_Init(GPIOA, &GPIO_InitStruct);

  /*Configure GPIO pin : PD2 */
  GPIO_InitStruct.Pin = GPIO_PIN_2;
  GPIO_InitStruct.Mode = GPIO_MODE_OUTPUT_PP;
  GPIO_InitStruct.Pull = GPIO_NOPULL;
  GPIO_InitStruct.Speed = GPIO_SPEED_FREQ_LOW;
  HAL_GPIO_Init(GPIOD, &GPIO_InitStruct);

}

void Error_Handler(void)
{
  __disable_irq();
  while (1)
  {
  }
}

/************************ (C) COPYRIGHT STMicroelectronics *****END OF FILE****/
